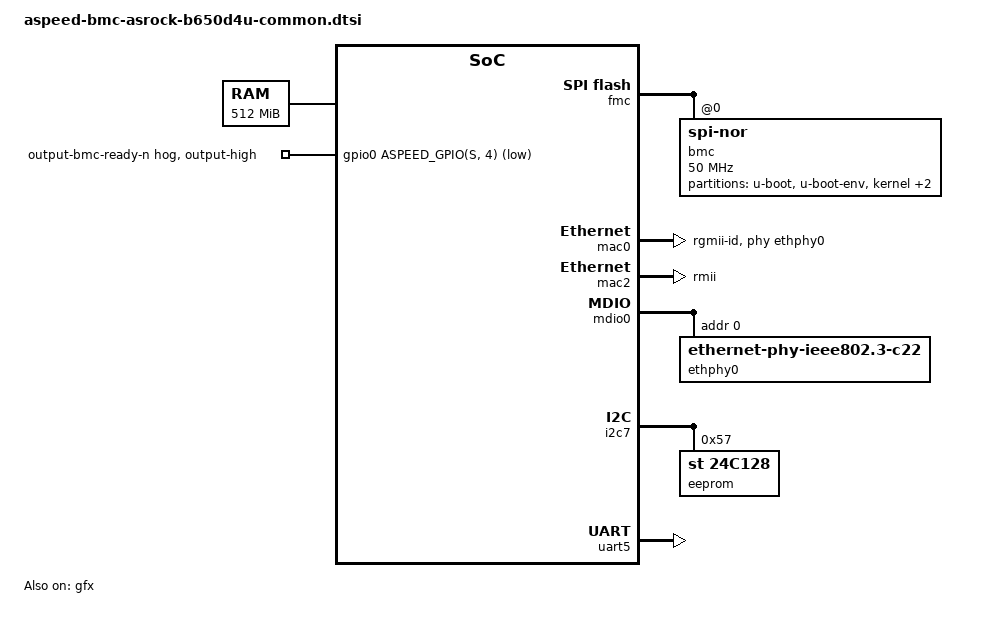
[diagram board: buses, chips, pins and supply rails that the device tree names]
// SPDX-License-Identifier: GPL-2.0
/*
 * Common Device Tree include for ASRock Rack B650D4U BMC family.
 */

#include "aspeed-g6.dtsi"
#include <dt-bindings/gpio/aspeed-gpio.h>  /* <-- ADD THIS LINE */

/ {
	aspeed_b650d4u_power: host-power-passthrough {
		compatible = "asrock,b650d4u-power-passthrough";
		aspeed,scu = <&syscon>;
	};

	aliases {
		serial0 = &uart5;
	};

	chosen {
		stdout-path = "serial0:115200n8";
	};

	memory@80000000 {
		device_type = "memory";
		reg = <0x80000000 0x20000000>;
	};

	reserved-memory {
		#address-cells = <1>;
		#size-cells = <1>;
		ranges;

		pci_memory: region@9e000000 {
			reg = <0x9e000000 0x00400000>;
			no-map;
		};

		video_engine_memory: video {
			compatible = "shared-dma-pool";
			size = <0x04000000>;
			alignment = <0x01000000>;
			reusable;
		};

		gfx_memory: framebuffer {
			compatible = "shared-dma-pool";
			size = <0x01000000>;
			alignment = <0x01000000>;
			reusable;
		};
	};
};

&gfx {
	status = "okay";
	memory-region = <&gfx_memory>;
};

&gpio0 {
	gpio-line-names =
		/* A0-A7 */	"","","","","","","","",
		/* B0-B7 */	"","","","","","","","",
		/* C0-C7 */	"","","","","","","","",
		/* D0-D7 */	"","","","","","","","",
		/* E0-E7 */	"","","","","","","","",
		/* F0-F7 */     "","","","","","","","input-psu-pwrok-n",
		/* G0-G7 */	"","","","","","","","",
		/* H0-H7 */	"","","","","","","","",
		/* I0-I7 */	"","","","","","","","",
		/* J0-J7 */	"","","","","","","","",
		/* K0-K7 */	"","","","","","","","",
		/* L0-L7 */	"","","","","","","","",
		/* M0-M7 */	"","","","","","","","",
		/* N0-N7 */	"","","","","","","","",
		/* O0-O7 */	"","","","","","","","",
		/* P0-P7 */	"button-reset-n","control-reset-n",
				"button-power-n","control-power-n",
				"button-nmi-n","control-nmi-n",
				"","",
		/* Q0-Q7 */	"","","","","","","","",
		/* R0-R7 */	"","","","","","","","",
		/* S0-S7 */     "","","","bmc-ready","output-bmc-ready-n",
				"","","",
		/* T0-T7 */	"","","","","","","","",
		/* U0-U7 */	"","","","","","","","",
		/* V0-V7 */	"","","","","","","","",
		/* W0-W7 */	"","","","","","","","",
		/* X0-X7 */	"","","","","","","","",
		/* Y0-Y7 */	"","","","","","","","",
		/* Z0-Z7 */	"","","","","","","","";

	/* The vendor firmware asserts BMC ready by driving S4 low. */
	bmc-ready {
		gpio-hog;
		gpios = <ASPEED_GPIO(S, 4) GPIO_ACTIVE_LOW>;
		/* Active-low GPIO: logical high drives the physical pin low. */
		output-high;
		line-name = "output-bmc-ready-n";
	};
};

&fmc {
	status = "okay";

	flash@0 {
		reg = <0>;
		compatible = "jedec,spi-nor";
		label = "bmc";
		m25p,fast-read;
		spi-max-frequency = <50000000>;
		spi-rx-bus-width = <4>;
		status = "okay";

		partitions {
			compatible = "fixed-partitions";
			#address-cells = <1>;
			#size-cells = <1>;

			u-boot@0 {
				reg = <0x00000000 0x000e0000>;
				label = "u-boot";
				read-only;
			};

			u-boot-env@e0000 {
				reg = <0x000e0000 0x00020000>;
				label = "u-boot-env";
			};

			kernel@200000 {
				reg = <0x00200000 0x00800000>;
				label = "kernel";
			};

			rofs@a00000 {
				reg = <0x00a00000 0x02000000>;
				label = "rofs";
				read-only;
			};

			rwfs@2a00000 {
				reg = <0x02a00000 0x01600000>;
				label = "rwfs";
			};
		};
	};
};

&mac0 {
	status = "okay";
	phy-mode = "rgmii-id";
	phy-handle = <&ethphy0>;
	pinctrl-names = "default";
	pinctrl-0 = <&pinctrl_rgmii1_default>;

	nvmem-cells = <&eth0_macaddress>;
	nvmem-cell-names = "mac-address";
};

&mac2 {
	status = "okay";
	phy-mode = "rmii";
	use-ncsi;
};

&mdio0 {
	status = "okay";

	ethphy0: ethernet-phy@0 {
		compatible = "ethernet-phy-ieee802.3-c22";
		reg = <0>;
	};
};

&i2c7 {
	status = "okay";

	eeprom@57 {
		compatible = "st,24c128", "atmel,24c128";
		reg = <0x57>;
		pagesize = <16>;

		nvmem-layout {
			compatible = "fixed-layout";
			#address-cells = <1>;
			#size-cells = <1>;

			eth0_macaddress: macaddress@3f80 {
				reg = <0x3f80 6>;
			};
		};
	};
};

&uart5 {
	status = "okay";
};
